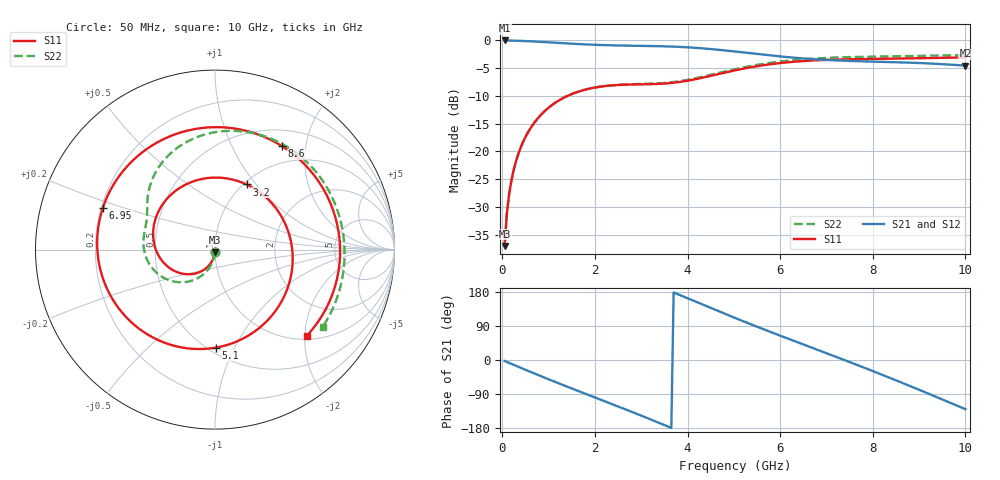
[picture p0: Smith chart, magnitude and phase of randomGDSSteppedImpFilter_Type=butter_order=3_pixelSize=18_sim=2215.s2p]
! freq	dB(S11)	phase(S11)	dB(S12)	phase(S12)
!  dB(S21)	phase(S21)	dB(S22)	phase(S22)
!S-par simulation data
#  GHz  S  DB  R 50
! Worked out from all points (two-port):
!   200 points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, 50 MHz to 10 GHz, reference 50 ohm
!   highest |S21| = 0.00 dB at 50 MHz (marker M1); lowest = -4.5 dB at 10 GHz (marker M2)
!   |S21| within 3 dB of the highest: start of sweep to 6.151 GHz
!   lowest |S11| = -37.1 dB at 50 MHz (marker M3), VSWR 1.03, Z = 49.9 - j1.4 ohm
!   |S11| at or under -10 dB: start of sweep to 1.408 GHz
!   |S22| runs from -37.1 to -2.6 dB; largest |S21 - S12| = 0
!   S11 on the Smith chart (normalised r, x): 50 MHz: 1.00, -0.03; 3.2 GHz: 1.03, +0.90; 5.1 GHz: 0.55, -0.85; 6.95 GHz: 0.21, +0.17; 8.6 GHz: 0.73, +1.59; 10 GHz: 1.08, -2.05
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0.05  -37.05 -92.8  -0.00 -2.6  -0.00 -2.6  -37.07 -92.1
0.1  -31.06 -96.0  -0.01 -5.2  -0.01 -5.2  -31.06 -94.4
0.2  -25.10 -102.2  -0.03 -10.4  -0.03 -10.4  -25.08 -99.0
0.5  -17.41 -120.3  -0.11 -25.8  -0.11 -25.8  -17.39 -112.2
1.15  -11.19 -158.8  -0.42 -58.3  -0.42 -58.3  -11.19 -138.9
1.75  -8.96 165.4  -0.70 -87.1  -0.70 -87.1  -8.95 -160.7
2.45  -8.05 120.3  -0.90 -120.2  -0.90 -120.2  -8.02 178.2
3.2  -7.88 64.2  -1.00 -156.6  -1.00 -156.6  -7.80 161.7
3.4  -7.82 47.6  -1.04 -166.6  -1.04 -166.6  -7.72 158.3
3.8  -7.52 13.4  -1.15 173.1  -1.15 173.1  -7.38 152.1
4.2  -6.94 -20.8  -1.35 152.7  -1.35 152.7  -6.77 145.3
5.05  -5.34 -85.8  -2.02 109.8  -2.02 109.8  -5.13 124.9
5.1  -5.26 -89.3  -2.07 107.3  -2.07 107.3  -5.04 123.4
5.8  -4.28 -134.1  -2.71 73.6  -2.71 73.6  -4.02 101.1
6.25  -3.87 -160.5  -3.08 52.6  -3.08 52.6  -3.58 85.7
6.7  -3.61 173.8  -3.37 31.8  -3.37 31.8  -3.29 69.9
6.95  -3.52 159.5  -3.49 20.3  -3.49 20.3  -3.17 61.2
7.7  -3.37 115.2  -3.75 -14.8  -3.75 -14.8  -2.96 35.3
8.35  -3.29 73.8  -3.89 -46.2  -3.89 -46.2  -2.88 13.9
8.6  -3.26 57.1  -3.95 -58.5  -3.95 -58.5  -2.86 6.1
9.35  -3.14 4.5  -4.20 -96.3  -4.20 -96.3  -2.75 -16.7
10  -3.08 -43.2  -4.54 -129.8  -4.54 -129.8  -2.64 -35.5
